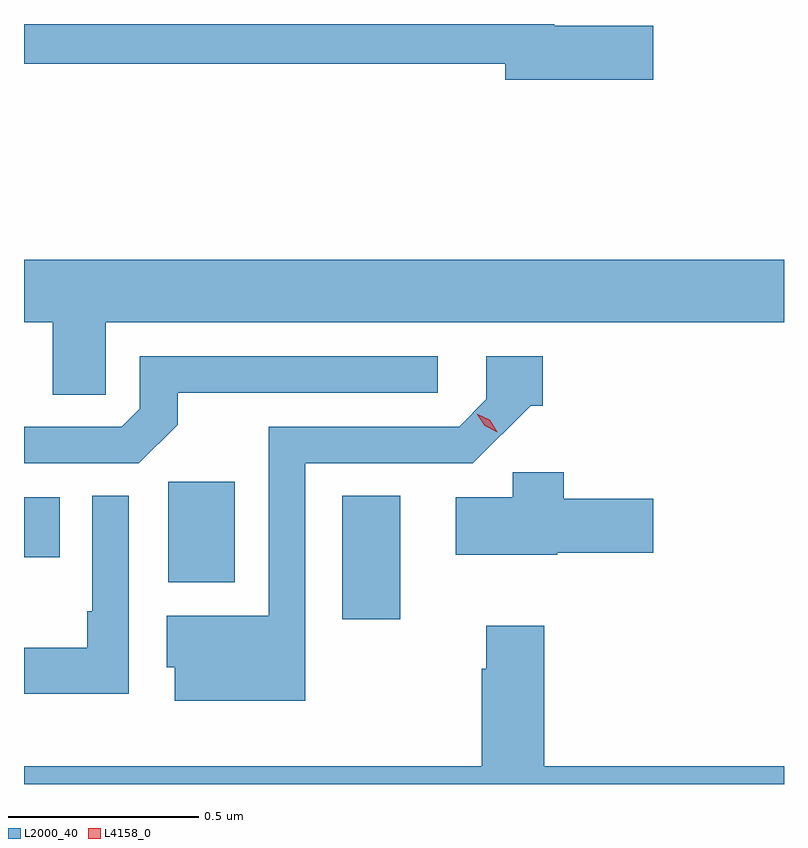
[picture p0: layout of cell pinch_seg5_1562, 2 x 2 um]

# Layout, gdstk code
import gdstk
lib = gdstk.Library(unit=1e-6, precision=1e-09)
def R(c, l, rs):  # rectangles x0, y0, x1, y1
    for r in rs: c.add(gdstk.rectangle(r[:2], r[2:], *l))
def P(c, l, *ps):  # polygons
    for p in ps: c.add(gdstk.Polygon(p, *l))
L2000_40 = (2000, 40)
L4158_0 = (4158, 0)

pinch_seg5_1562 = lib.new_cell('pinch_seg5_1562')
R(pinch_seg5_1562, L2000_40, [(360.941,834.666,361.093,834.992), (360.482,834.764,360.658,835.028), (360.103,834.83,360.197,834.988)])
P(pinch_seg5_1562, L2000_40, [(361.759,836.228),(361.498,836.228),(361.498,836.233),(360.103,836.233),(360.103,836.128),(361.37,836.128),(361.37,836.086),(361.759,836.086)],
  [(360.318,835.448),(362.103,835.448),(362.103,835.612),(360.103,835.612),(360.103,835.448),(360.179,835.448),(360.179,835.258),(360.318,835.258)],
  [(360.843,835.077),(361.284,835.077),(361.436,835.229),(361.468,835.229),(361.468,835.359),(361.32,835.359),(361.32,835.245),(361.248,835.173),(360.747,835.173),(360.747,834.676),(360.479,834.676),(360.479,834.54),(360.5,834.54),(360.5,834.452),(360.843,834.452)],
  [(360.507,835.179),(360.507,835.263),(361.192,835.263),(361.192,835.359),(360.408,835.359),(360.408,835.221),(360.36,835.173),(360.103,835.173),(360.103,835.077),(360.405,835.077)],
  [(361.506,834.842),(361.759,834.842),(361.759,834.984),(361.523,834.984),(361.523,835.053),(361.389,835.053),(361.389,834.988),(361.239,834.988),(361.239,834.836),(361.506,834.836)],
  [(360.378,834.992),(360.282,834.992),(360.282,834.688),(360.27,834.688),(360.27,834.592),(360.103,834.592),(360.103,834.47),(360.378,834.47)],
  [(362.103,834.28),(361.472,834.28),(361.472,834.649),(361.319,834.649),(361.319,834.536),(361.307,834.536),(361.307,834.28),(360.103,834.28),(360.103,834.233),(362.103,834.233)])
P(pinch_seg5_1562, L4158_0, [(361.349,835.159),(361.316,835.176),(361.295,835.207),(361.295,835.208),(361.295,835.208),(361.329,835.191),(361.349,835.16),(361.349,835.159)])

lib.write_gds('pinch_seg5_1562.gds')
